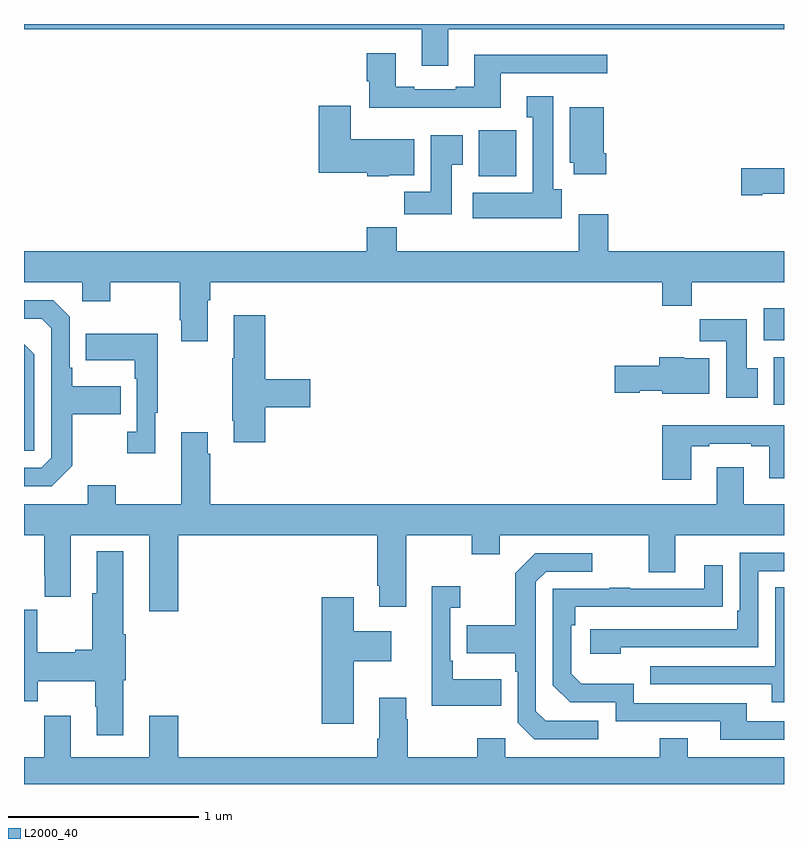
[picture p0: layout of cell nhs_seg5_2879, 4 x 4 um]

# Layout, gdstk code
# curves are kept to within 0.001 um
import gdstk
lib = gdstk.Library(unit=1e-6, precision=1e-09)
def R(c, l, rs):  # rectangles x0, y0, x1, y1
    for r in rs: c.add(gdstk.rectangle(r[:2], r[2:], *l))
def P(c, l, *ps):  # polygons
    for p in ps: c.add(gdstk.Polygon(p, *l))
L2000_40 = (2000, 40)

nhs_seg5_2879 = lib.new_cell('nhs_seg5_2879')
R(nhs_seg5_2879, L2000_40, [(282.947,842.796,283,843.046), (282.893,843.134,283,843.304), (281.393,843.998,281.59,844.24)])
P(nhs_seg5_2879, L2000_40, [(281.233,844.772),(283,844.772),(283,844.799),(279,844.799),(279,844.772),(281.093,844.772),(281.093,844.578),(281.233,844.578)],
  [(281.509,844.539),(282.07,844.539),(282.07,844.636),(281.369,844.636),(281.369,844.468),(281.273,844.468),(281.273,844.455),(281.053,844.455),(281.053,844.468),(280.957,844.468),(280.957,844.645),(280.805,844.645),(280.805,844.497),(280.817,844.497),(280.817,844.358),(281.509,844.358)],
  [(281.83,843.93),(281.785,843.93),(281.785,844.42),(281.645,844.42),(281.645,844.307),(281.678,844.307),(281.678,843.91),(281.361,843.91),(281.361,843.776),(281.83,843.776)],
  [(280.92,844.004),(281.053,844.004),(281.053,844.192),(280.72,844.192),(280.72,844.369),(280.55,844.369),(280.55,844.016),(280.806,844.016),(280.806,843.998),(280.92,843.998)],
  [(282.065,844.12),(282.052,844.12),(282.052,844.36),(281.873,844.36),(281.873,844.068),(281.894,844.068),(281.894,844.008),(282.065,844.008)],
  [(281.251,844.057),(281.308,844.057),(281.308,844.213),(281.141,844.213),(281.141,843.916),(281.002,843.916),(281.002,843.798),(281.251,843.798)],
  [(282.886,843.905),(283,843.905),(283,844.04),(282.774,844.04),(282.774,843.898),(282.886,843.898)],
  [(279.967,843.344),(279.98,843.344),(279.98,843.44),(282.359,843.44),(282.359,843.316),(282.515,843.316),(282.515,843.44),(283,843.44),(283,843.604),(282.074,843.604),(282.074,843.799),(281.921,843.799),(281.921,843.604),(280.961,843.604),(280.961,843.728),(280.805,843.728),(280.805,843.604),(279,843.604),(279,843.44),(279.306,843.44),(279.306,843.341),(279.453,843.341),(279.453,843.44),(279.82,843.44),(279.82,843.241),(279.827,843.241),(279.827,843.129),(279.967,843.129)],
  [(279.253,842.473),(279.253,842.746),(279.509,842.746),(279.509,842.893),(279.253,842.893),(279.253,842.989),(279.24,842.989),(279.24,843.258),(279.153,843.345),(279,843.345),(279,843.249),(279.093,843.249),(279.144,843.198),(279.144,842.517),(279.09,842.463),(279,842.463),(279,842.367),(279.147,842.367)],
  [(280.271,842.783),(280.507,842.783),(280.507,842.93),(280.271,842.93),(280.271,843.265),(280.103,843.265),(280.103,843.041),(280.096,843.041),(280.096,842.71),(280.103,842.71),(280.103,842.598),(280.271,842.598)],
  [(282.862,842.988),(282.805,842.988),(282.805,843.246),(282.556,843.246),(282.556,843.128),(282.695,843.128),(282.695,842.832),(282.862,842.832)],
  [(279.691,842.753),(279.703,842.753),(279.703,843.169),(279.325,843.169),(279.325,843.029),(279.582,843.029),(279.582,842.933),(279.594,842.933),(279.594,842.654),(279.543,842.654),(279.543,842.541),(279.691,842.541)],
  [(279.054,843.06),(279,843.114),(279,842.553),(279.054,842.553)],
  [(282.607,843.04),(282.474,843.04),(282.474,843.046),(282.344,843.046),(282.344,843),(282.108,843),(282.108,842.858),(282.24,842.858),(282.24,842.87),(282.36,842.87),(282.36,842.852),(282.607,842.852)],
  [(282.511,842.577),(282.607,842.577),(282.607,842.589),(282.827,842.589),(282.827,842.577),(282.923,842.577),(282.923,842.408),(283,842.408),(283,842.686),(282.359,842.686),(282.359,842.4),(282.511,842.4)],
  [(279.812,842.108),(280.859,842.108),(280.859,841.843),(280.871,841.843),(280.871,841.731),(281.011,841.731),(281.011,842.108),(281.356,842.108),(281.356,842.009),(281.503,842.009),(281.503,842.108),(282.287,842.108),(282.287,841.914),(282.427,841.914),(282.427,842.108),(283,842.108),(283,842.272),(282.787,842.272),(282.787,842.467),(282.647,842.467),(282.647,842.272),(279.98,842.272),(279.98,842.537),(279.967,842.537),(279.967,842.65),(279.827,842.65),(279.827,842.272),(279.483,842.272),(279.483,842.371),(279.335,842.371),(279.335,842.272),(279,842.272),(279,842.108),(279.107,842.108),(279.107,841.897),(279.11,841.897),(279.11,841.785),(279.247,841.785),(279.247,842.108),(279.659,842.108),(279.659,841.707),(279.812,841.707)],
  [(279.523,841.344),(279.536,841.344),(279.536,841.588),(279.523,841.588),(279.523,842.023),(279.383,842.023),(279.383,841.803),(279.358,841.803),(279.358,841.505),(279.269,841.505),(279.269,841.492),(279.069,841.492),(279.069,841.715),(279,841.715),(279,841.234),(279.073,841.234),(279.073,841.34),(279.376,841.34),(279.376,841.206),(279.383,841.206),(279.383,841.056),(279.523,841.056)],
  [(282.14,841.518),(282.864,841.518),(282.864,841.92),(283,841.92),(283,842.016),(282.768,842.016),(282.768,841.711),(282.755,841.711),(282.755,841.614),(281.979,841.614),(281.979,841.484),(282.14,841.484)],
  [(282.022,841.131),(281.745,841.131),(281.694,841.182),(281.694,841.863),(281.748,841.917),(281.992,841.917),(281.992,842.013),(281.691,842.013),(281.586,841.907),(281.586,841.635),(281.329,841.635),(281.329,841.487),(281.586,841.487),(281.586,841.391),(281.598,841.391),(281.598,841.122),(281.685,841.035),(282.022,841.035)],
  [(283,841.128),(282.805,841.128),(282.805,841.224),(282.21,841.224),(282.21,841.327),(281.933,841.327),(281.88,841.38),(281.88,841.634),(281.9,841.634),(281.9,841.731),(282.677,841.732),(282.677,841.951),(282.581,841.951),(282.581,841.827),(282.191,841.827),(282.191,841.832),(282.079,841.832),(282.079,841.827),(281.784,841.827),(281.784,841.32),(281.874,841.23),(282.114,841.23),(282.114,841.128),(282.665,841.128),(282.665,841.032),(283,841.032)],
  [(281.513,841.351),(281.257,841.351),(281.257,841.447),(281.244,841.447),(281.244,841.727),(281.296,841.727),(281.296,841.84),(281.147,841.84),(281.147,841.211),(281.513,841.211)],
  [(283,841.835),(282.954,841.835),(282.954,841.419),(282.295,841.419),(282.295,841.323),(282.935,841.323),(282.935,841.229),(283,841.229)],
  [(280.735,841.445),(280.933,841.445),(280.933,841.603),(280.735,841.603),(280.735,841.783),(280.568,841.783),(280.568,841.116),(280.735,841.116)],
  [(283,840.94),(282.493,840.94),(282.493,841.039),(282.346,841.039),(282.346,840.94),(281.532,840.94),(281.532,841.039),(281.386,841.039),(281.386,840.94),(281.019,840.94),(281.019,841.139),(281.011,841.139),(281.011,841.252),(280.871,841.252),(280.871,841.036),(280.859,841.036),(280.859,840.94),(279.812,840.94),(279.812,841.159),(279.659,841.159),(279.659,840.94),(279.247,840.94),(279.247,841.159),(279.107,841.159),(279.107,840.94),(279,840.94),(279,840.799),(283,840.799)])

lib.write_gds('nhs_seg5_2879.gds')
